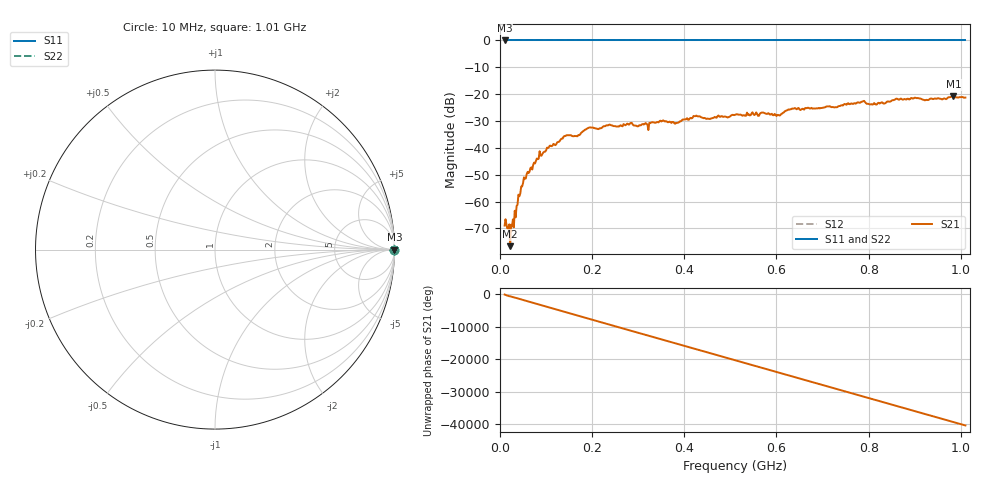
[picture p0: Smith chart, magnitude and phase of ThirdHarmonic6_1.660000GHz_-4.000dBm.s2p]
! 8/16/2025 7:53:08 PM
! C:\ANRITSUVNA\TEMP\TEMP.S2P
! CHANNEL.1
! TR.MEASUREMENT
! RAW.DATA
! RF.CORRECTION.OFF
! AVERAGING.OFF
! IF.BANDWIDTH: 5KHZ
! SWEEPTYPE:  FREQ.SWEEP(Linear)
! Reference Plane Port Info
! PORT:  PORT1  PORT2
! DISTANCE:  0  m  0  m
! TIME:  0  s  0  s
! PHASE.OFFSET:  0  deg.  0  deg.
! LOSS:  0  dB  0  dB
! REF.LOSS:  0  dB  0  dB
! REF.FREQ:  0  Hz  0  Hz
! Power Info
! POWER:  -20  dBm  -20  dBm
! EFF.POWER:  -20  dBm  -20  dBm
! SOURCE.ATTEN:  0  dB  0  dB
! TEST.ATTEN:  0  dB  0  dB
# GHZ S RI R 50.0
! FREQ.GHZ  S11RE  S11IM  S21RE  S21IM  S12RE  S12IM  S22RE  S22IM
!; PortSelection: Port_12
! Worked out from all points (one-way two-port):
!   501 points, 10 MHz to 1.01 GHz, reference 50 ohm
!   highest |S21| = -20.87 dB at 984 MHz (marker M1); lowest = -76.6 dB at 22 MHz (marker M2)
!   lowest |S11| = 0.0 dB at 10 MHz (marker M3)
!   |S11| at or under -10 dB: nowhere
!   |S22| runs from 0.0 to 0.0 dB; largest |S21 - S12| = 1.1
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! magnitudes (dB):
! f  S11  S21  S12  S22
! 10 MHz  0.0  -68.9  0.0  0.0
! 22 MHz  0.0  -76.6  0.0  0.0
! 26 MHz  0.0  -69.3  0.0  0.0
! 28 MHz  0.0  -66.6  0.0  0.0
! 50 MHz  0.0  -53.1  0.0  0.0
! 82 MHz  0.0  -44.2  0.0  0.0
! 142 MHz  0.0  -35.6  0.0  0.0
! 178 MHz  0.0  -34.2  0.0  0.0
! 192 MHz  0.0  -32.5  0.0  0.0
! 234 MHz  0.0  -31.7  0.0  0.0
! 300 MHz  0.0  -32.0  0.0  0.0
! 344 MHz  0.0  -30.5  0.0  0.0
! 382 MHz  0.0  -30.8  0.0  0.0
! 424 MHz  0.0  -28.2  0.0  0.0
! 452 MHz  0.0  -29.1  0.0  0.0
! 510 MHz  0.0  -27.7  0.0  0.0
! 604 MHz  0.0  -27.7  0.0  0.0
! 636 MHz  0.0  -25.4  0.0  0.0
! 678 MHz  0.0  -25.4  0.0  0.0
! 844 MHz  0.0  -22.8  0.0  0.0
! 984 MHz  0.0  -20.9  0.0  0.0
! 1.01 GHz  0.0  -21.3  0.0  0.0
